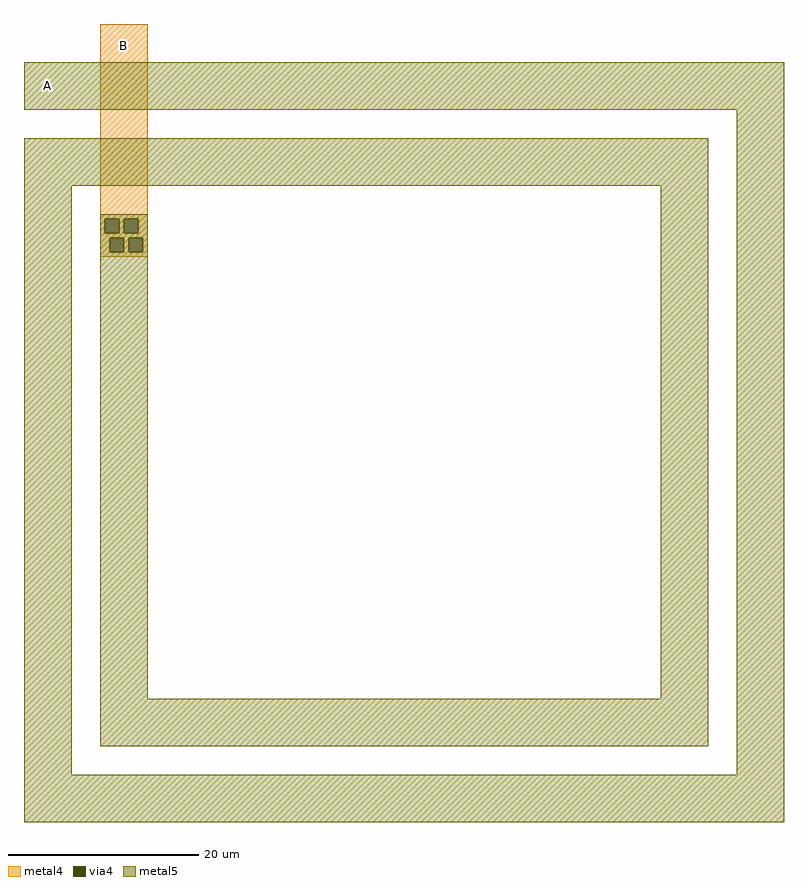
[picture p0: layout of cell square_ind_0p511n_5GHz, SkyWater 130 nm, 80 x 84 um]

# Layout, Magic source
magic
tech sky130B
<< metal4 >>
rect 900 150 1400 2200
rect 900 0 950 150
rect 1100 0 1150 150
rect 1300 0 1400 150
rect 900 -50 1400 0
rect 900 -200 1000 -50
rect 1150 -200 1200 -50
rect 1350 -200 1400 -50
rect 900 -250 1400 -200
<< via4 >>
rect 950 0 1100 150
rect 1150 0 1300 150
rect 1000 -200 1150 -50
rect 1200 -200 1350 -50
<< metal5 >>
rect 100 1300 8100 1800
rect 100 500 7300 1000
rect 100 -5700 600 500
rect 900 150 1400 200
rect 900 0 950 150
rect 1100 0 1150 150
rect 1300 0 1400 150
rect 900 -50 1400 0
rect 900 -200 1000 -50
rect 1150 -200 1200 -50
rect 1350 -200 1400 -50
rect 900 -4900 1400 -200
rect 6800 -4900 7300 500
rect 900 -5400 7300 -4900
rect 7600 -5700 8100 1300
rect 100 -6200 8100 -5700
<< labels >>
rlabel metal5 100 1300 600 1800 1 A
rlabel metal4 900 1850 1400 2100 1 B
<< end >>
